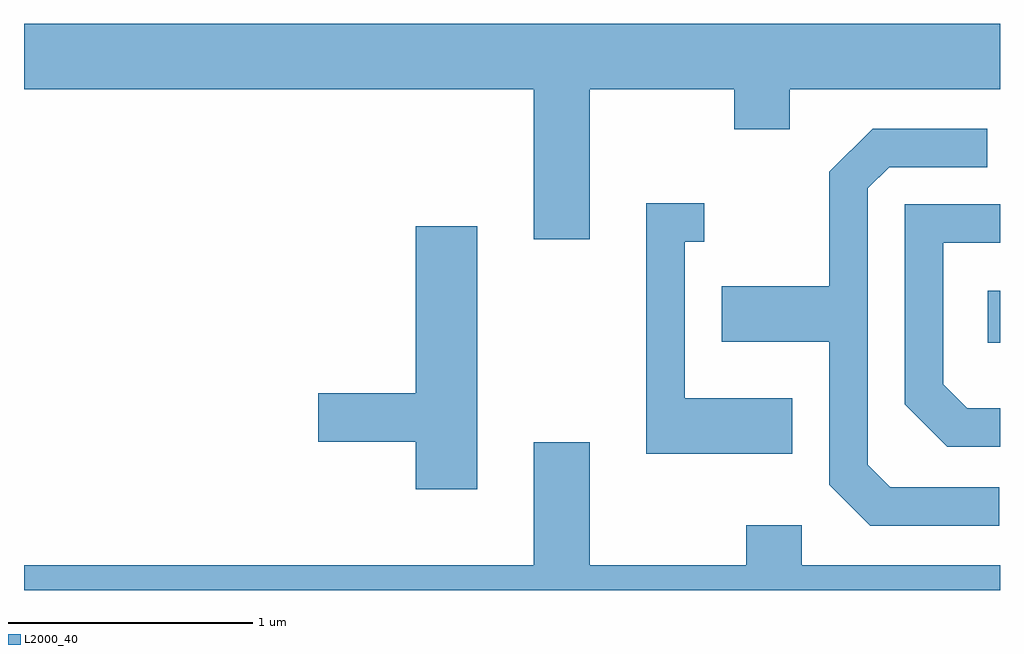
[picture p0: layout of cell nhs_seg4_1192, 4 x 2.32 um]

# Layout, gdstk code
import gdstk
lib = gdstk.Library(unit=1e-6, precision=1e-09)
def R(c, l, rs):  # rectangles x0, y0, x1, y1
    for r in rs: c.add(gdstk.rectangle(r[:2], r[2:], *l))
def P(c, l, *ps):  # polygons
    for p in ps: c.add(gdstk.Polygon(p, *l))
L2000_40 = (2000, 40)

nhs_seg4_1192 = lib.new_cell('nhs_seg4_1192')
R(nhs_seg4_1192, L2000_40, [(223.561,1326.996,223.611,1327.209)])
P(nhs_seg4_1192, L2000_40, [(221.929,1328.036),(222.521,1328.036),(222.521,1327.871),(222.749,1327.871),(222.749,1328.036),(223.611,1328.036),(223.611,1328.304),(219.611,1328.304),(219.611,1328.036),(221.701,1328.036),(221.701,1327.421),(221.929,1327.421)],
  [(223.608,1326.404),(223.162,1326.404),(223.069,1326.497),(223.069,1327.629),(223.157,1327.716),(223.558,1327.716),(223.558,1327.874),(223.089,1327.874),(222.911,1327.697),(222.911,1327.229),(222.471,1327.229),(222.471,1327.001),(222.911,1327.001),(222.911,1326.414),(223.079,1326.246),(223.608,1326.246)],
  [(222.759,1326.769),(222.319,1326.769),(222.319,1327.411),(222.398,1327.411),(222.398,1327.569),(222.161,1327.569),(222.161,1326.541),(222.759,1326.541)],
  [(223.611,1326.729),(223.477,1326.729),(223.379,1326.827),(223.379,1327.406),(223.611,1327.406),(223.611,1327.564),(223.221,1327.564),(223.221,1326.744),(223.394,1326.571),(223.611,1326.571)],
  [(221.469,1327.474),(221.216,1327.474),(221.216,1326.789),(220.816,1326.789),(220.816,1326.591),(221.216,1326.591),(221.216,1326.396),(221.469,1326.396)],
  [(223.611,1326.084),(222.799,1326.084),(222.799,1326.249),(222.571,1326.249),(222.571,1326.084),(221.929,1326.084),(221.929,1326.589),(221.701,1326.589),(221.701,1326.084),(219.611,1326.084),(219.611,1325.982),(223.611,1325.982)])

lib.write_gds('nhs_seg4_1192.gds')
